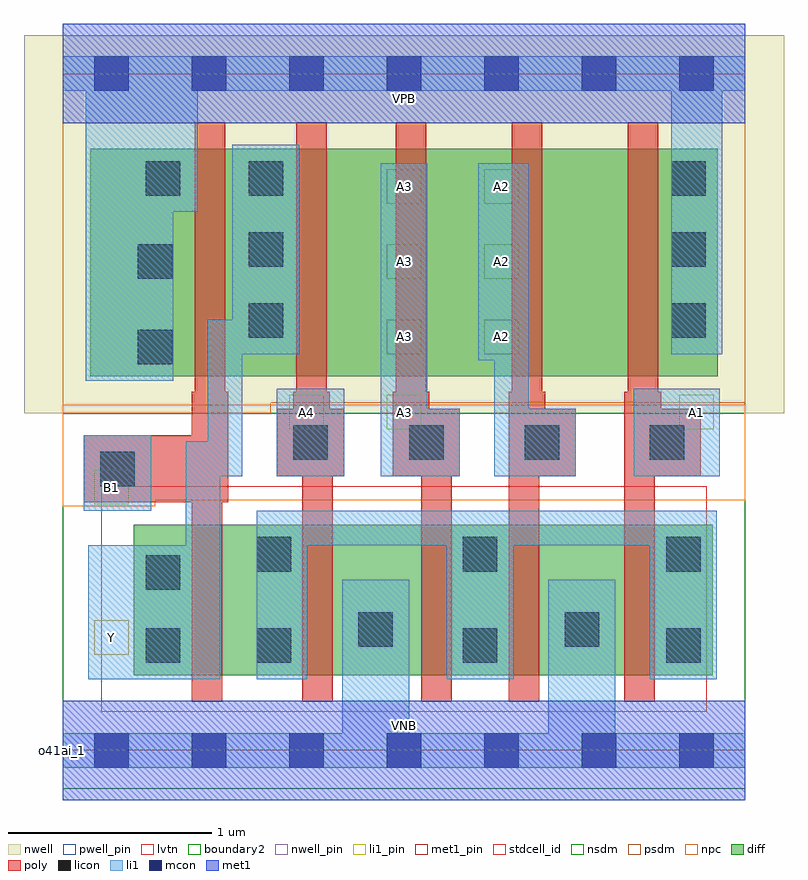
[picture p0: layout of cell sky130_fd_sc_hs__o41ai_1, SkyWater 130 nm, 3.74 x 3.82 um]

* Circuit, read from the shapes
.subckt sky130_fd_sc_hs__o41ai_1 A1 A2 A3 A4 B1 VGND VNB VPB VPWR Y
XM1 n1 B1 Y VNB sky130_fd_pr__nfet_01v8_lvt w=0.74 l=0.15
XM2 VGND A4 n1 VNB sky130_fd_pr__nfet_01v8_lvt w=0.74 l=0.15
XM3 n1 A3 VGND VNB sky130_fd_pr__nfet_01v8_lvt w=0.74 l=0.15
XM4 VGND A2 n1 VNB sky130_fd_pr__nfet_01v8_lvt w=0.74 l=0.15
XM5 n1 A1 VGND VNB sky130_fd_pr__nfet_01v8_lvt w=0.74 l=0.15
XM6 Y B1 VPWR VPB sky130_fd_pr__pfet_01v8 w=1.12 l=0.15
XM7 n2 A4 Y VPB sky130_fd_pr__pfet_01v8 w=1.12 l=0.15
XM8 n3 A3 n2 VPB sky130_fd_pr__pfet_01v8 w=1.12 l=0.15
XM9 n4 A2 n3 VPB sky130_fd_pr__pfet_01v8 w=1.12 l=0.15
XM10 VPWR A1 n4 VPB sky130_fd_pr__pfet_01v8 w=1.12 l=0.15
.ends

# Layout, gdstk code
import gdstk
lib = gdstk.Library(unit=1e-6, precision=1e-09)
def R(c, l, rs):  # rectangles x0, y0, x1, y1
    for r in rs: c.add(gdstk.rectangle(r[:2], r[2:], *l))
def A(c, l, x, y, w, h, nx, ny, dx, dy):  # array of equal rectangles
    R(c, l, [(x+i*dx, y+j*dy, x+i*dx+w, y+j*dy+h) for i in range(nx) for j in range(ny)])
def P(c, l, *ps):  # polygons
    for p in ps: c.add(gdstk.Polygon(p, *l))
nwell_pin = (64, 16)
nwell = (64, 20)
diff = (65, 20)
poly = (66, 20)
licon = (66, 44)
li1_pin = (67, 16)
li1 = (67, 20)
mcon = (67, 44)
met1_pin = (68, 16)
met1 = (68, 20)
stdcell_id = (81, 4)
nsdm = (93, 44)
psdm = (94, 20)
npc = (95, 20)
pwell_pin = (122, 16)
lvtn = (125, 44)
boundary2 = (236, 0)

sky130_fd_sc_hs__o41ai_1 = lib.new_cell('sky130_fd_sc_hs__o41ai_1')
R(sky130_fd_sc_hs__o41ai_1, nwell_pin, [(0,3.085,3.36,3.33)])
R(sky130_fd_sc_hs__o41ai_1, nwell, [(-0.19,1.66,3.55,3.52)])
R(sky130_fd_sc_hs__o41ai_1, diff, [(0.35,0.37,3.2,1.11), (0.135,1.84,3.225,2.96)])
P(sky130_fd_sc_hs__o41ai_1, poly, [(1.385,1.68),(1.315,1.68),(1.315,1.765),(1.3,1.765),(1.3,3.09),(1.15,3.09),(1.15,1.765),(1.135,1.765),(1.135,1.68),(1.055,1.68),(1.055,1.35),(1.18,1.35),(1.18,0.24),(1.33,0.24),(1.33,1.35),(1.385,1.35)],
  [(0.815,1.765),(0.8,1.765),(0.8,3.09),(0.65,3.09),(0.65,1.765),(0.635,1.765),(0.635,1.55),(0.105,1.55),(0.105,1.22),(0.635,1.22),(0.635,0.24),(0.785,0.24),(0.785,1.22),(0.815,1.22)],
  [(1.955,1.68),(1.805,1.68),(1.805,1.765),(1.79,1.765),(1.79,3.09),(1.64,3.09),(1.64,1.765),(1.625,1.765),(1.625,1.35),(1.765,1.35),(1.765,0.24),(1.915,0.24),(1.915,1.35),(1.955,1.35)],
  [(2.525,1.68),(2.375,1.68),(2.375,1.765),(2.36,1.765),(2.36,3.09),(2.21,3.09),(2.21,1.765),(2.195,1.765),(2.195,0.24),(2.345,0.24),(2.345,1.35),(2.525,1.35)],
  [(3.14,1.68),(2.945,1.68),(2.945,1.765),(2.93,1.765),(2.93,3.09),(2.78,3.09),(2.78,1.765),(2.765,1.765),(2.765,0.24),(2.915,0.24),(2.915,1.35),(3.14,1.35)])
A(sky130_fd_sc_hs__o41ai_1, licon, 1.135, 1.43, 0.17, 0.17, 3, 1, 0.57, 0)
A(sky130_fd_sc_hs__o41ai_1, licon, 0.915, 2.03, 0.17, 0.17, 1, 3, 0, 0.35)
A(sky130_fd_sc_hs__o41ai_1, licon, 2.995, 2.03, 0.17, 0.17, 1, 3, 0, 0.35)
R(sky130_fd_sc_hs__o41ai_1, licon, [(0.41,0.43,0.58,0.6), (0.955,0.43,1.125,0.6), (1.97,0.43,2.14,0.6), (2.97,0.43,3.14,0.6), (1.455,0.51,1.625,0.68), (2.47,0.51,2.64,0.68), (0.41,0.79,0.58,0.96), (0.955,0.88,1.125,1.05), (1.97,0.88,2.14,1.05), (2.97,0.88,3.14,1.05), (0.185,1.3,0.355,1.47), (2.89,1.43,3.06,1.6), (0.37,1.9,0.54,2.07), (0.37,2.32,0.54,2.49), (0.41,2.73,0.58,2.9)])
A(sky130_fd_sc_hs__o41ai_1, li1_pin, 1.595, 1.58, 0.17, 0.17, 1, 4, 0, 0.37)
A(sky130_fd_sc_hs__o41ai_1, li1_pin, 2.075, 1.95, 0.17, 0.17, 1, 3, 0, 0.37)
R(sky130_fd_sc_hs__o41ai_1, li1_pin, [(0.155,0.47,0.325,0.64), (0.155,1.21,0.325,1.38), (1.115,1.58,1.285,1.75), (3.035,1.58,3.205,1.75)])
R(sky130_fd_sc_hs__o41ai_1, li1, [(0.105,1.18,0.435,1.55), (1.055,1.35,1.385,1.78), (2.81,1.35,3.235,1.78)])
P(sky130_fd_sc_hs__o41ai_1, li1, [(0,-0.085),(0,0.085),(1.375,0.085),(1.375,0.84),(1.705,0.84),(1.705,0.085),(2.39,0.085),(2.39,0.84),(2.72,0.84),(2.72,0.085),(3.36,0.085),(3.36,-0.085)],
  [(0,3.245),(0,3.415),(3.36,3.415),(3.36,3.245),(3.245,3.245),(3.245,1.95),(2.995,1.95),(2.995,3.245),(0.665,3.245),(0.665,2.65),(0.545,2.65),(0.545,1.82),(0.115,1.82),(0.115,3.245)],
  [(1.565,1.35),(1.565,2.89),(1.795,2.89),(1.795,1.68),(1.955,1.68),(1.955,1.35)],
  [(2.295,1.68),(2.525,1.68),(2.525,1.35),(2.125,1.35),(2.125,1.92),(2.045,1.92),(2.045,2.89),(2.295,2.89)],
  [(0.125,0.35),(0.125,1.01),(0.605,1.01),(0.605,1.52),(0.715,1.52),(0.715,2.12),(0.835,2.12),(0.835,2.98),(1.165,2.98),(1.165,1.95),(0.885,1.95),(0.885,1.35),(0.775,1.35),(0.775,0.35)],
  [(1.89,1.01),(1.205,1.01),(1.205,0.35),(0.955,0.35),(0.955,1.18),(3.22,1.18),(3.22,0.35),(2.89,0.35),(2.89,1.01),(2.22,1.01),(2.22,0.35),(1.89,0.35)])
A(sky130_fd_sc_hs__o41ai_1, mcon, 0.155, -0.085, 0.17, 0.17, 7, 2, 0.48, 3.33)
R(sky130_fd_sc_hs__o41ai_1, met1_pin, [(0,0,3.36,0.245), (0,3.085,3.36,3.33)])
R(sky130_fd_sc_hs__o41ai_1, met1, [(0,-0.245,3.36,0.245), (0,3.085,3.36,3.575)])
R(sky130_fd_sc_hs__o41ai_1, stdcell_id, [(0,0,3.36,3.33)])
R(sky130_fd_sc_hs__o41ai_1, nsdm, [(0,-0.19,3.36,1.66)])
P(sky130_fd_sc_hs__o41ai_1, psdm, [(3.36,3.52),(0,3.52),(0,1.66),(1.025,1.66),(1.025,1.71),(3.36,1.71)])
P(sky130_fd_sc_hs__o41ai_1, npc, [(3.36,1.7),(0,1.7),(0,1.2),(0.455,1.2),(0.455,1.23),(3.36,1.23)])
R(sky130_fd_sc_hs__o41ai_1, pwell_pin, [(0,0,3.36,0.245)])
R(sky130_fd_sc_hs__o41ai_1, lvtn, [(0.19,0.19,3.17,1.3)])
R(sky130_fd_sc_hs__o41ai_1, boundary2, [(0,0,3.36,3.33)])
sky130_fd_sc_hs__o41ai_1.add(gdstk.Label('o41ai_1', (0,0), layer=83, texttype=44))
sky130_fd_sc_hs__o41ai_1.add(gdstk.Label('VNB', (1.68,0.123), layer=64, texttype=59))
sky130_fd_sc_hs__o41ai_1.add(gdstk.Label('VPB', (1.68,3.208), layer=64, texttype=5))
sky130_fd_sc_hs__o41ai_1.add(gdstk.Label('VPWR', (1.68,3.208), layer=68, texttype=5))
sky130_fd_sc_hs__o41ai_1.add(gdstk.Label('VGND', (1.68,0.123), layer=68, texttype=5))
sky130_fd_sc_hs__o41ai_1.add(gdstk.Label('A3', (1.68,1.665), layer=67, texttype=5))
sky130_fd_sc_hs__o41ai_1.add(gdstk.Label('A3', (1.68,2.035), layer=67, texttype=5))
sky130_fd_sc_hs__o41ai_1.add(gdstk.Label('A3', (1.68,2.405), layer=67, texttype=5))
sky130_fd_sc_hs__o41ai_1.add(gdstk.Label('A3', (1.68,2.775), layer=67, texttype=5))
sky130_fd_sc_hs__o41ai_1.add(gdstk.Label('A2', (2.16,2.035), layer=67, texttype=5))
sky130_fd_sc_hs__o41ai_1.add(gdstk.Label('A2', (2.16,2.405), layer=67, texttype=5))
sky130_fd_sc_hs__o41ai_1.add(gdstk.Label('A2', (2.16,2.775), layer=67, texttype=5))
sky130_fd_sc_hs__o41ai_1.add(gdstk.Label('B1', (0.24,1.295), layer=67, texttype=5))
sky130_fd_sc_hs__o41ai_1.add(gdstk.Label('Y', (0.24,0.555), layer=67, texttype=5))
sky130_fd_sc_hs__o41ai_1.add(gdstk.Label('A4', (1.2,1.665), layer=67, texttype=5))
sky130_fd_sc_hs__o41ai_1.add(gdstk.Label('A1', (3.12,1.665), layer=67, texttype=5))

lib.write_gds('sky130_fd_sc_hs__o41ai_1.gds')
